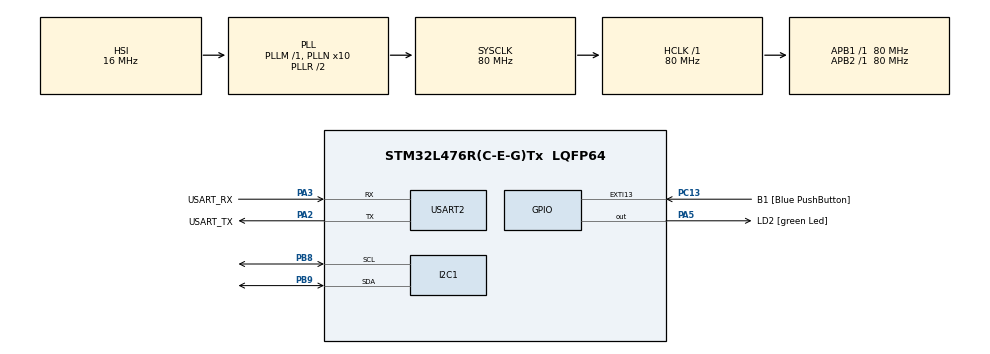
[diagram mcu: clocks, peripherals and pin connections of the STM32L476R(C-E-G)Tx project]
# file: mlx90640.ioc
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I2C1.Timing=0x10D19CE4
Mcu.Family=STM32L4
Mcu.Name=STM32L476R(C-E-G)Tx
Mcu.Package=LQFP64
NVIC.PriorityGroup=NVIC_PRIORITYGROUP_4
PA0.Mode=SYS_WakeUp0
PA0.Signal=SYS_WKUP1
PA13\ (JTMS-SWDIO).GPIO_Label=TMS
PA13\ (JTMS-SWDIO).Mode=Serial_Wire
PA13\ (JTMS-SWDIO).Signal=SYS_JTMS-SWDIO
PA14\ (JTCK-SWCLK).GPIO_Label=TCK
PA14\ (JTCK-SWCLK).Mode=Serial_Wire
PA14\ (JTCK-SWCLK).Signal=SYS_JTCK-SWCLK
PA2.GPIO_Label=USART_TX
PA2.GPIO_Mode=GPIO_MODE_AF_PP
PA2.GPIO_PuPd=GPIO_NOPULL
PA2.GPIO_Speed=GPIO_SPEED_FREQ_VERY_HIGH
PA2.Mode=Asynchronous
PA2.Signal=USART2_TX
PA3.GPIO_Label=USART_RX
PA3.GPIO_Mode=GPIO_MODE_AF_PP
PA3.GPIO_PuPd=GPIO_NOPULL
PA3.GPIO_Speed=GPIO_SPEED_FREQ_VERY_HIGH
PA3.Mode=Asynchronous
PA3.Signal=USART2_RX
PA5.GPIO_Label=LD2 [green Led]
PA5.GPIO_ModeDefaultOutputPP=GPIO_MODE_OUTPUT_PP
PA5.GPIO_PuPd=GPIO_NOPULL
PA5.GPIO_Speed=GPIO_SPEED_FREQ_LOW
PA5.Signal=GPIO_Output
PB3\ (JTDO-TRACESWO).GPIO_Label=SWO
PB3\ (JTDO-TRACESWO).Signal=SYS_JTDO-SWO
PB8.Mode=I2C
PB8.Signal=I2C1_SCL
PB9.Mode=I2C
PB9.Signal=I2C1_SDA
PC13.GPIO_Label=B1 [Blue PushButton]
PC13.GPIO_ModeDefaultEXTI=GPIO_MODE_IT_FALLING
PC13.GPIO_PuPd=GPIO_NOPULL
PC13.Signal=GPXTI13
PC14-OSC32_IN\ (PC14).Mode=LSE-External-Oscillator
PC14-OSC32_IN\ (PC14).Signal=RCC_OSC32_IN
PC15-OSC32_OUT\ (PC15).Mode=LSE-External-Oscillator
PC15-OSC32_OUT\ (PC15).Signal=RCC_OSC32_OUT
PH0-OSC_IN\ (PH0).Signal=RCC_OSC_IN
PH1-OSC_OUT\ (PH1).Signal=RCC_OSC_OUT
ProjectManager.HeapSize=0x200
ProjectManager.StackSize=0x400
ProjectManager.TargetToolchain=STM32CubeIDE
RCC.ADCFreq_Value=64000000
RCC.AHBFreq_Value=80000000
RCC.APB1Freq_Value=80000000
RCC.APB1TimFreq_Value=80000000
RCC.APB2Freq_Value=80000000
RCC.APB2TimFreq_Value=80000000
RCC.CortexFreq_Value=80000000
RCC.HCLKFreq_Value=80000000
RCC.HSE_VALUE=8000000
RCC.HSI_VALUE=16000000
RCC.MSI_VALUE=4000000
RCC.PLLN=10
RCC.PLLSourceVirtual=RCC_PLLSOURCE_HSI
RCC.PREFETCH_ENABLE=1
RCC.SYSCLKFreq_VALUE=80000000
RCC.SYSCLKSource=RCC_SYSCLKSOURCE_PLLCLK
RCC.USBFreq_Value=64000000
RCC.VCOOutputFreq_Value=160000000
USART2.VirtualMode-Asynchronous=VM_ASYNC
board=NUCLEO-L476RG

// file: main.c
/* USER CODE BEGIN Header */
/**
 ******************************************************************************
 * @file           : main.c
 * @brief          : Main program body
 ******************************************************************************
 * @attention
 *
 * Copyright (c) 2026 STMicroelectronics.
 * All rights reserved.
 *
 * This software is licensed under terms that can be found in the LICENSE file
 * in the root directory of this software component.
 * If no LICENSE file comes with this software, it is provided AS-IS.
 *
 ******************************************************************************
 */
/* USER CODE END Header */
#include "main.h"

/* USER CODE BEGIN Includes */
#include <stdio.h>
#include <stdlib.h>
#include <math.h>
#include "string.h"
/* USER CODE END Includes */

I2C_HandleTypeDef hi2c1;

UART_HandleTypeDef huart2;

void SystemClock_Config(void);
static void MX_GPIO_Init(void);
static void MX_USART2_UART_Init(void);
static void MX_I2C1_Init(void);

/* USER CODE BEGIN 0 */
#define SCALEALPHA 0.000001
#define OPENAIR_TA_SHIFT 8 ///< Default 8 degree offset from ambient air
#define MLX90640_I2C_ADDR 0x33 << 1
#define MLX_FRAME_WORDS 832

/* --- float32 <-> float16 helpers --- */
static uint16_t f32_to_f16(float f)
{
    uint32_t x;
    memcpy(&x, &f, sizeof(x));

    uint16_t sign = (x >> 16) & 0x8000;
    int32_t exp = ((x >> 23) & 0xFF) - 127 + 15;
    uint32_t mant = x & 0x007FFFFF;

    if (exp <= 0)
    {
        /* Flush to signed zero (subnormals not worth the cost on MCU) */
        return sign;
    }
    else if (exp >= 31)
    {
        /* Overflow -> infinity */
        return sign | 0x7C00;
    }
    return sign | ((uint16_t)exp << 10) | (uint16_t)(mant >> 13);
}

static float f16_to_f32(uint16_t h)
{
    uint32_t sign = (uint32_t)(h & 0x8000) << 16;
    uint32_t exp = (h >> 10) & 0x1F;
    uint32_t mant = h & 0x03FF;
    uint32_t x;

    if (exp == 0)
    {
        x = sign; /* zero / subnormal -> zero */
    }
    else if (exp == 31)
    {
        x = sign | 0x7F800000 | (mant << 13); /* inf / NaN */
    }
    else
    {
        x = sign | ((exp - 15 + 127) << 23) | (mant << 13);
    }

    float f;
    memcpy(&f, &x, sizeof(f));
    return f;
}

struct paramsMLX90640
{
    int16_t kVdd;
    int16_t vdd25;
    float KvPTAT;
    float KtPTAT;
    uint16_t vPTAT25;
    float alphaPTAT;
    int16_t gainEE;
    float tgc;
    float cpKv;
    float cpKta;
    uint8_t resolutionEE;
    uint8_t calibrationModeEE;
    float KsTa;
    float ksTo[5];
    int16_t ct[5];
    uint16_t alpha[768];
    uint8_t alphaScale;
    int16_t offset[768];
    int8_t kta[768];
    uint8_t ktaScale;
    int8_t kv[768];
    uint8_t kvScale;
    float cpAlpha[2];
    int16_t cpOffset[2];
    float ilChessC[3];
    uint16_t brokenPixels[5];
    uint16_t outlierPixels[5];
};

struct paramsMLX90640 mlx90640 = {0};

float scratchData[768];           // for calibration parameter calculations
uint16_t frameData[834] = {0};    // for reading frame data from sensor
uint16_t eepromData[832];         // for storing eeprom data
float tempBuf[24 * 32] = {0};     // for temp calculation
uint16_t frameBuf[24 * 32] = {0}; // for final float temperature values for each frame

// various messages for sending over UART
uint8_t Buffer[25] = {0};
uint8_t Space[] = " - ";
uint8_t StartMSG[] = "Starting I2C Scanning: \r\n";
uint8_t EndMSG[] = "Done! \r\n\r\n";
uint8_t StartFrameMsg[] = "\nStarting to read frame: \n";
uint8_t EndFrameMsg[] = "\nFinished frame read!\n";
uint8_t IsFrameReadyMsg[] = "\nFrame data ready\n";
uint8_t ModeSetMsg[] = "\nSet chess mode\n";
uint8_t ResolutionSetMsg[] = "\nSet resolution\n";
uint8_t FrameRateSetMsg[] = "\nSet frame rate\n";
uint8_t ErrorMsgRead[] = "\nError in read\n";
uint8_t ErrorMsgWrite[] = "\nError in write\n";
uint8_t ChessMsg[] = "\nCHESS\n";
uint8_t CrashMsg[] = "\n\nCRASH\n\n";

HAL_StatusTypeDef MLX_ReadReg(I2C_HandleTypeDef *hi2c,
                              uint16_t reg,
                              uint16_t *value)
{
    uint8_t buffer[2];

    HAL_StatusTypeDef status =
        HAL_I2C_Mem_Read(hi2c,
                         MLX90640_I2C_ADDR,
                         reg,
                         I2C_MEMADD_SIZE_16BIT,
                         buffer,
                         2,
                         1000);

    if (status != HAL_OK)
        return status;

    *value = (buffer[0] << 8) | buffer[1]; // MLX = MSB first
    return HAL_OK;
}

HAL_StatusTypeDef MLX_WriteReg(I2C_HandleTypeDef *hi2c,
                               uint16_t reg,
                               uint16_t value)
{
    uint8_t buffer[2];

    buffer[0] = value >> 8;   // MSB
    buffer[1] = value & 0xFF; // LSB

    return HAL_I2C_Mem_Write(hi2c,
                             MLX90640_I2C_ADDR,
                             reg,
                             I2C_MEMADD_SIZE_16BIT,
                             buffer,
                             2,
                             1000);
}

HAL_StatusTypeDef MLX_ReadBlock(I2C_HandleTypeDef *hi2c,
                                uint16_t startReg,
                                uint16_t words,
                                uint16_t *dest)
{
    uint8_t raw[64]; // small buffer
    uint16_t remaining = words;
    uint16_t offset = 0;

    while (remaining)
    {
        uint16_t chunkWords = (remaining > 32) ? 32 : remaining;
        uint16_t chunkBytes = chunkWords * 2;

        HAL_StatusTypeDef status =
            HAL_I2C_Mem_Read(hi2c,
                             MLX90640_I2C_ADDR,
                             startReg + offset,
                             I2C_MEMADD_SIZE_16BIT,
                             raw,
                             chunkBytes,
                             2000);

        if (status != HAL_OK)
            return status;

        for (uint16_t i = 0; i < chunkWords; i++)
        {
            dest[offset + i] =
                (raw[2 * i] << 8) | raw[2 * i + 1];
        }

        offset += chunkWords;
        remaining -= chunkWords;
    }

    return HAL_OK;
}

void ExtractVDDParameters(uint16_t *eeData)
{
    int16_t kVdd;
    int16_t vdd25;

    kVdd = eeData[51];

    kVdd = (eeData[51] & 0xFF00) >> 8;
    if (kVdd > 127)
    {
        kVdd = kVdd - 256;
    }
    kVdd = 32 * kVdd;
    vdd25 = eeData[51] & 0x00FF;
    vdd25 = ((vdd25 - 256) << 5) - 8192;

    mlx90640.kVdd = kVdd;
    mlx90640.vdd25 = vdd25;
}

void ExtractPTATParameters(uint16_t *eeData)
{
    float KvPTAT;
    float KtPTAT;
    int16_t vPTAT25;
    float alphaPTAT;

    KvPTAT = (eeData[50] & 0xFC00) >> 10;
    if (KvPTAT > 31)
    {
        KvPTAT = KvPTAT - 64;
    }
    KvPTAT = KvPTAT / 4096;

    KtPTAT = eeData[50] & 0x03FF;
    if (KtPTAT > 511)
    {
        KtPTAT = KtPTAT - 1024;
    }
    KtPTAT = KtPTAT / 8;

    vPTAT25 = eeData[49];

    alphaPTAT = (eeData[16] & 0xF000) / pow(2, (double)14) + 8.0f;

    mlx90640.KvPTAT = KvPTAT;
    mlx90640.KtPTAT = KtPTAT;
    mlx90640.vPTAT25 = vPTAT25;
    mlx90640.alphaPTAT = alphaPTAT;
}

void ExtractGainParameters(uint16_t *eeData)
{
    int16_t gainEE;

    gainEE = eeData[48];
    if (gainEE > 32767)
    {
        gainEE = gainEE - 65536;
    }

    mlx90640.gainEE = gainEE;
}

void ExtractTgcParameters(uint16_t *eeData)
{
    float tgc;
    tgc = eeData[60] & 0x00FF;
    if (tgc > 127)
    {
        tgc = tgc - 256;
    }
    tgc = tgc / 32.0f;

    mlx90640.tgc = tgc;
}

void ExtractResolutionParameters(uint16_t *eeData)
{
    uint8_t resolutionEE;
    resolutionEE = (eeData[56] & 0x3000) >> 12;

    mlx90640.resolutionEE = resolutionEE;
}

void ExtractKsTaParameters(uint16_t *eeData)
{
    float KsTa;
    KsTa = (eeData[60] & 0xFF00) >> 8;
    if (KsTa > 127)
    {
        KsTa = KsTa - 256;
    }
    KsTa = KsTa / 8192.0f;

    mlx90640.KsTa = KsTa;
}

void ExtractKsToParameters(uint16_t *eeData)
{
    int KsToScale;
    int8_t step;

    step = ((eeData[63] & 0x3000) >> 12) * 10;

    mlx90640.ct[0] = -40;
    mlx90640.ct[1] = 0;
    mlx90640.ct[2] = (eeData[63] & 0x00F0) >> 4;
    mlx90640.ct[3] = (eeData[63] & 0x0F00) >> 8;

    mlx90640.ct[2] = mlx90640.ct[2] * step;
    mlx90640.ct[3] = mlx90640.ct[2] + mlx90640.ct[3] * step;
    mlx90640.ct[4] = 400;

    KsToScale = (eeData[63] & 0x000F) + 8;
    KsToScale = 1 << KsToScale;

    mlx90640.ksTo[0] = eeData[61] & 0x00FF;
    mlx90640.ksTo[1] = (eeData[61] & 0xFF00) >> 8;
    mlx90640.ksTo[2] = eeData[62] & 0x00FF;
    mlx90640.ksTo[3] = (eeData[62] & 0xFF00) >> 8;

    for (int i = 0; i < 4; i++)
    {
        if (mlx90640.ksTo[i] > 127)
        {
            mlx90640.ksTo[i] = mlx90640.ksTo[i] - 256;
        }
        mlx90640.ksTo[i] = mlx90640.ksTo[i] / KsToScale;
    }

    mlx90640.ksTo[4] = -0.0002;
}

void ExtractCPParameters(uint16_t *eeData)
{
    float alphaSP[2];
    int16_t offsetSP[2];
    float cpKv;
    float cpKta;
    uint8_t alphaScale;
    uint8_t ktaScale1;
    uint8_t kvScale;

    alphaScale = ((eeData[32] & 0xF000) >> 12) + 27;

    offsetSP[0] = (eeData[58] & 0x03FF);
    if (offsetSP[0] > 511)
    {
        offsetSP[0] = offsetSP[0] - 1024;
    }

    offsetSP[1] = (eeData[58] & 0xFC00) >> 10;
    if (offsetSP[1] > 31)
    {
        offsetSP[1] = offsetSP[1] - 64;
    }
    offsetSP[1] = offsetSP[1] + offsetSP[0];

    alphaSP[0] = (eeData[57] & 0x03FF);
    if (alphaSP[0] > 511)
    {
        alphaSP[0] = alphaSP[0] - 1024;
    }
    alphaSP[0] = alphaSP[0] / pow(2, (double)alphaScale);

    alphaSP[1] = (eeData[57] & 0xFC00) >> 10;
    if (alphaSP[1] > 31)
    {
        alphaSP[1] = alphaSP[1] - 64;
    }
    alphaSP[1] = (1 + alphaSP[1] / 128) * alphaSP[0];

    cpKta = (eeData[59] & 0x00FF);
    if (cpKta > 127)
    {
        cpKta = cpKta - 256;
    }
    ktaScale1 = ((eeData[56] & 0x00F0) >> 4) + 8;
    mlx90640.cpKta = cpKta / pow(2, (double)ktaScale1);

    cpKv = (eeData[59] & 0xFF00) >> 8;
    if (cpKv > 127)
    {
        cpKv = cpKv - 256;
    }
    kvScale = (eeData[56] & 0x0F00) >> 8;
    mlx90640.cpKv = cpKv / pow(2, (double)kvScale);

    mlx90640.cpAlpha[0] = alphaSP[0];
    mlx90640.cpAlpha[1] = alphaSP[1];
    mlx90640.cpOffset[0] = offsetSP[0];
    mlx90640.cpOffset[1] = offsetSP[1];
}

void ExtractAlphaParameters(uint16_t *eeData)
{
    int16_t accRow[24];
    int16_t accColumn[32];
    int p = 0;
    int alphaRef;
    uint8_t alphaScale;
    uint8_t accRowScale;
    uint8_t accColumnScale;
    uint8_t accRemScale;
    float temp;

    accRemScale = eeData[32] & 0x000F;
    accColumnScale = (eeData[32] & 0x00F0) >> 4;
    accRowScale = (eeData[32] & 0x0F00) >> 8;
    alphaScale = ((eeData[32] & 0xF000) >> 12) + 30;
    alphaRef = eeData[33];

    for (int i = 0; i < 6; i++)
    {
        p = i * 4;
        accRow[p + 0] = (eeData[34 + i] & 0x000F);
        accRow[p + 1] = (eeData[34 + i] & 0x00F0) >> 4;
        accRow[p + 2] = (eeData[34 + i] & 0x0F00) >> 8;
        accRow[p + 3] = (eeData[34 + i] & 0xF000) >> 12;
    }

    for (int i = 0; i < 24; i++)
    {
        if (accRow[i] > 7)
        {
            accRow[i] = accRow[i] - 16;
        }
    }

    for (int i = 0; i < 8; i++)
    {
        p = i * 4;
        accColumn[p + 0] = (eeData[40 + i] & 0x000F);
        accColumn[p + 1] = (eeData[40 + i] & 0x00F0) >> 4;
        accColumn[p + 2] = (eeData[40 + i] & 0x0F00) >> 8;
        accColumn[p + 3] = (eeData[40 + i] & 0xF000) >> 12;
    }

    for (int i = 0; i < 32; i++)
    {
        if (accColumn[i] > 7)
        {
            accColumn[i] = accColumn[i] - 16;
        }
    }

    for (int i = 0; i < 24; i++)
    {
        for (int j = 0; j < 32; j++)
        {
            p = 32 * i + j;
            scratchData[p] = (eeData[64 + p] & 0x03F0) >> 4;
            if (scratchData[p] > 31)
            {
                scratchData[p] = scratchData[p] - 64;
            }
            scratchData[p] = scratchData[p] * (1 << accRemScale);
            scratchData[p] = (alphaRef + (accRow[i] << accRowScale) + (accColumn[j] << accColumnScale) + scratchData[p]);
            scratchData[p] = scratchData[p] / pow(2, (double)alphaScale);
            scratchData[p] = scratchData[p] - mlx90640.tgc * (mlx90640.cpAlpha[0] + mlx90640.cpAlpha[1]) / 2;
            scratchData[p] = SCALEALPHA / scratchData[p];

            if (i == 0 && j == 0)
                temp = scratchData[p];
            else
            {
                if (scratchData[p] > temp)
                    temp = scratchData[p];
            }
        }
    }

    temp = scratchData[0];
    for (int i = 1; i < 768; i++)
    {
        if (scratchData[i] > temp)
        {
            temp = scratchData[i];
        }
    }

    alphaScale = 0;
    if (temp <= 0)
        temp = 1; // prevent lock
    while (temp < 32768)
    {
        temp = temp * 2;
        alphaScale = alphaScale + 1;
    }

    for (int i = 0; i < 768; i++)
    {
        temp = scratchData[i] * pow(2, (double)alphaScale);
        mlx90640.alpha[i] = (temp + 0.5);
    }

    mlx90640.alphaScale = alphaScale;
}

void ExtractOffsetParameters(uint16_t *eeData)
{
    int16_t occRow[24];
    int16_t occColumn[32];
    int p = 0;
    int16_t offsetRef;
    uint8_t occRowScale;
    uint8_t occColumnScale;
    uint8_t occRemScale;

    occRemScale = (eeData[16] & 0x000F);
    occColumnScale = (eeData[16] & 0x00F0) >> 4;
    occRowScale = (eeData[16] & 0x0F00) >> 8;
    offsetRef = eeData[17];
    if (offsetRef > 32767)
    {
        offsetRef = offsetRef - 65536;
    }

    for (int i = 0; i < 6; i++)
    {
        p = i * 4;
        occRow[p + 0] = (eeData[18 + i] & 0x000F);
        occRow[p + 1] = (eeData[18 + i] & 0x00F0) >> 4;
        occRow[p + 2] = (eeData[18 + i] & 0x0F00) >> 8;
        occRow[p + 3] = (eeData[18 + i] & 0xF000) >> 12;
    }

    for (int i = 0; i < 24; i++)
    {
        if (occRow[i] > 7)
        {
            occRow[i] = occRow[i] - 16;
        }
    }

    for (int i = 0; i < 8; i++)
    {
        p = i * 4;
        occColumn[p + 0] = (eeData[24 + i] & 0x000F);
        occColumn[p + 1] = (eeData[24 + i] & 0x00F0) >> 4;
        occColumn[p + 2] = (eeData[24 + i] & 0x0F00) >> 8;
        occColumn[p + 3] = (eeData[24 + i] & 0xF000) >> 12;
    }

    for (int i = 0; i < 32; i++)
    {
        if (occColumn[i] > 7)
        {
            occColumn[i] = occColumn[i] - 16;
        }
    }

    for (int i = 0; i < 24; i++)
    {
        for (int j = 0; j < 32; j++)
        {
            p = 32 * i + j;
            mlx90640.offset[p] = (eeData[64 + p] & 0xFC00) >> 10;
            if (mlx90640.offset[p] > 31)
            {
                mlx90640.offset[p] = mlx90640.offset[p] - 64;
            }
            mlx90640.offset[p] = mlx90640.offset[p] * (1 << occRemScale);
            mlx90640.offset[p] = (offsetRef + (occRow[i] << occRowScale) + (occColumn[j] << occColumnScale) + mlx90640.offset[p]);
        }
    }
}

void ExtractKtaPixelParameters(uint16_t *eeData)
{
    int p = 0;
    int8_t KtaRC[4];
    int8_t KtaRoCo;
    int8_t KtaRoCe;
    int8_t KtaReCo;
    int8_t KtaReCe;
    uint8_t ktaScale1;
    uint8_t ktaScale2;
    uint8_t split;
    float temp;

    KtaRoCo = (eeData[54] & 0xFF00) >> 8;
    if (KtaRoCo > 127)
    {
        KtaRoCo = KtaRoCo - 256;
    }
    KtaRC[0] = KtaRoCo;

    KtaReCo = (eeData[54] & 0x00FF);
    if (KtaReCo > 127)
    {
        KtaReCo = KtaReCo - 256;
    }
    KtaRC[2] = KtaReCo;

    KtaRoCe = (eeData[55] & 0xFF00) >> 8;
    if (KtaRoCe > 127)
    {
        KtaRoCe = KtaRoCe - 256;
    }
    KtaRC[1] = KtaRoCe;

    KtaReCe = (eeData[55] & 0x00FF);
    if (KtaReCe > 127)
    {
        KtaReCe = KtaReCe - 256;
    }
    KtaRC[3] = KtaReCe;

    ktaScale1 = ((eeData[56] & 0x00F0) >> 4) + 8;
    ktaScale2 = (eeData[56] & 0x000F);

    for (int i = 0; i < 24; i++)
    {
        for (int j = 0; j < 32; j++)
        {
            p = 32 * i + j;
            split = 2 * (p / 32 - (p / 64) * 2) + p % 2;
            scratchData[p] = (eeData[64 + p] & 0x000E) >> 1;
            if (scratchData[p] > 3)
            {
                scratchData[p] = scratchData[p] - 8;
            }
            scratchData[p] = scratchData[p] * (1 << ktaScale2);
            scratchData[p] = KtaRC[split] + scratchData[p];
            scratchData[p] = scratchData[p] / pow(2, (double)ktaScale1);
            scratchData[p] = scratchData[p] * mlx90640.offset[p];

            if (i == 0 && j == 0)
                temp = fabs(scratchData[p]);
            else
            {
                if (fabs(scratchData[p]) > temp)
                    temp = fabs(scratchData[p]);
            }
        }
    }

    temp = fabs(scratchData[0]);
    for (int i = 1; i < 768; i++)
    {
        if (fabs(scratchData[i]) > temp)
        {
            temp = fabs(scratchData[i]);
        }
    }

    ktaScale1 = 0;
    if (temp == 0)
        temp = 1;
    while (temp < 64)
    {
        temp = temp * 2;
        ktaScale1 = ktaScale1 + 1;
    }

    for (int i = 0; i < 768; i++)
    {
        temp = scratchData[i] * pow(2, (double)ktaScale1);
        if (temp < 0)
        {
            mlx90640.kta[i] = (temp - 0.5);
        }
        else
        {
            mlx90640.kta[i] = (temp + 0.5);
        }
    }

    mlx90640.ktaScale = ktaScale1;
}

void ExtractKvPixelParameters(uint16_t *eeData)
{
    int p = 0;
    int8_t KvT[4];
    int8_t KvRoCo;
    int8_t KvRoCe;
    int8_t KvReCo;
    int8_t KvReCe;
    uint8_t kvScale;
    uint8_t split;
    float temp;

    KvRoCo = (eeData[52] & 0xF000) >> 12;
    if (KvRoCo > 7)
    {
        KvRoCo = KvRoCo - 16;
    }
    KvT[0] = KvRoCo;

    KvReCo = (eeData[52] & 0x0F00) >> 8;
    if (KvReCo > 7)
    {
        KvReCo = KvReCo - 16;
    }
    KvT[2] = KvReCo;

    KvRoCe = (eeData[52] & 0x00F0) >> 4;
    if (KvRoCe > 7)
    {
        KvRoCe = KvRoCe - 16;
    }
    KvT[1] = KvRoCe;

    KvReCe = (eeData[52] & 0x000F);
    if (KvReCe > 7)
    {
        KvReCe = KvReCe - 16;
    }
    KvT[3] = KvReCe;

    kvScale = (eeData[56] & 0x0F00) >> 8;

    for (int i = 0; i < 24; i++)
    {
        for (int j = 0; j < 32; j++)
        {
            p = 32 * i + j;
            split = 2 * (p / 32 - (p / 64) * 2) + p % 2;
            scratchData[p] = KvT[split];
            scratchData[p] = scratchData[p] / pow(2, (double)kvScale);
            scratchData[p] = scratchData[p] * mlx90640.offset[p];

            if (i == 0 && j == 0)
                temp = fabs(scratchData[p]);
            else
            {
                if (fabs(scratchData[p]) > temp)
                    temp = fabs(scratchData[p]);
            }
        }
    }

    temp = fabs(scratchData[0]);
    for (int i = 1; i < 768; i++)
    {
        if (fabs(scratchData[i]) > temp)
        {
            temp = fabs(scratchData[i]);
        }
    }

    kvScale = 0;

    if (temp == 0)
        temp = 1;
    while (temp < 64)
    {
        temp = temp * 2;
        kvScale = kvScale + 1;
    }

    for (int i = 0; i < 768; i++)
    {
        temp = scratchData[i] * pow(2, (double)kvScale);
        if (temp < 0)
        {
            mlx90640.kv[i] = (temp - 0.5);
        }
        else
        {
            mlx90640.kv[i] = (temp + 0.5);
        }
    }

    mlx90640.kvScale = kvScale;
}

void ExtractCILCParameters(uint16_t *eeData)
{
    float ilChessC[3];
    uint8_t calibrationModeEE;

    calibrationModeEE = (eeData[10] & 0x0800) >> 4;
    calibrationModeEE = calibrationModeEE ^ 0x80;

    ilChessC[0] = (eeData[53] & 0x003F);
    if (ilChessC[0] > 31)
    {
        ilChessC[0] = ilChessC[0] - 64;
    }
    ilChessC[0] = ilChessC[0] / 16.0f;

    ilChessC[1] = (eeData[53] & 0x07C0) >> 6;
    if (ilChessC[1] > 15)
    {
        ilChessC[1] = ilChessC[1] - 32;
    }
    ilChessC[1] = ilChessC[1] / 2.0f;

    ilChessC[2] = (eeData[53] & 0xF800) >> 11;
    if (ilChessC[2] > 15)
    {
        ilChessC[2] = ilChessC[2] - 32;
    }
    ilChessC[2] = ilChessC[2] / 8.0f;

    mlx90640.calibrationModeEE = calibrationModeEE;
    mlx90640.ilChessC[0] = ilChessC[0];
    mlx90640.ilChessC[1] = ilChessC[1];
    mlx90640.ilChessC[2] = ilChessC[2];
}

int CheckAdjacentPixels(uint16_t pix1, uint16_t pix2)
{
    int pixPosDif;

    pixPosDif = pix1 - pix2;
    if (pixPosDif > -34 && pixPosDif < -30)
    {
        return -6;
    }
    if (pixPosDif > -2 && pixPosDif < 2)
    {
        return -6;
    }
    if (pixPosDif > 30 && pixPosDif < 34)
    {
        return -6;
    }

    return 0;
}

int ExtractDeviatingPixels(uint16_t *eeData)
{
    uint16_t pixCnt = 0;
    uint16_t brokenPixCnt = 0;
    uint16_t outlierPixCnt = 0;
    int warn = 0;
    int i;

    for (pixCnt = 0; pixCnt < 5; pixCnt++)
    {
        mlx90640.brokenPixels[pixCnt] = 0xFFFF;
        mlx90640.outlierPixels[pixCnt] = 0xFFFF;
    }

    pixCnt = 0;
    while (pixCnt < 768 && brokenPixCnt < 5 && outlierPixCnt < 5)
    {
        if (eeData[pixCnt + 64] == 0)
        {
            mlx90640.brokenPixels[brokenPixCnt] = pixCnt;
            brokenPixCnt = brokenPixCnt + 1;
        }
        else if ((eeData[pixCnt + 64] & 0x0001) != 0)
        {
            mlx90640.outlierPixels[outlierPixCnt] = pixCnt;
            outlierPixCnt = outlierPixCnt + 1;
        }

        pixCnt = pixCnt + 1;
    }

    if (brokenPixCnt > 4)
    {
        warn = -3;
    }
    else if (outlierPixCnt > 4)
    {
        warn = -4;
    }
    else if ((brokenPixCnt + outlierPixCnt) > 4)
    {
        warn = -5;
    }
    else
    {
        for (pixCnt = 0; pixCnt < brokenPixCnt; pixCnt++)
        {
            for (i = pixCnt + 1; i < brokenPixCnt; i++)
            {
                warn = CheckAdjacentPixels(mlx90640.brokenPixels[pixCnt], mlx90640.brokenPixels[i]);
                if (warn != 0)
                {
                    return warn;
                }
            }
        }

        for (pixCnt = 0; pixCnt < outlierPixCnt; pixCnt++)
        {
            for (i = pixCnt + 1; i < outlierPixCnt; i++)
            {
                warn = CheckAdjacentPixels(mlx90640.outlierPixels[pixCnt], mlx90640.outlierPixels[i]);
                if (warn != 0)
                {
                    return warn;
                }
            }
        }

        for (pixCnt = 0; pixCnt < brokenPixCnt; pixCnt++)
        {
            for (i = 0; i < outlierPixCnt; i++)
            {
                warn = CheckAdjacentPixels(mlx90640.brokenPixels[pixCnt], mlx90640.outlierPixels[i]);
                if (warn != 0)
                {
                    return warn;
                }
            }
        }
    }

    return warn;
}

int MLX90640_ExtractParameters(uint16_t *eeData)
{
    int error = 0;
    ExtractVDDParameters(eeData);
    ExtractPTATParameters(eeData);
    ExtractGainParameters(eeData);
    ExtractTgcParameters(eeData);
    ExtractResolutionParameters(eeData);
    ExtractKsTaParameters(eeData);
    ExtractKsToParameters(eeData);
    ExtractCPParameters(eeData);
    ExtractAlphaParameters(eeData);
    ExtractOffsetParameters(eeData);
    ExtractKtaPixelParameters(eeData);
    ExtractKvPixelParameters(eeData);
    ExtractCILCParameters(eeData);
    error = ExtractDeviatingPixels(eeData);

    return error;
}

int MLX90640_GetFrameData()
{
    uint16_t dataReady = 1;
    uint16_t controlRegister1;
    uint16_t statusRegister;
    int error = 1;
    uint8_t cnt = 0;

    dataReady = 0;
    while (dataReady == 0)
    {
        if (MLX_ReadReg(&hi2c1, 0x8000, &statusRegister) != HAL_OK)
        {
            HAL_UART_Transmit(&huart2, ErrorMsgRead, sizeof(ErrorMsgRead), 10000);
            break;
        }
        dataReady = statusRegister & 0x0008;
        HAL_Delay(5);
    }

    while (dataReady != 0 && cnt < 5)
    {

        if (MLX_WriteReg(&hi2c1, 0x8000, 0x0030) != HAL_OK)
        {

            HAL_UART_Transmit(&huart2, ErrorMsgWrite, sizeof(ErrorMsgWrite), 10000);
            break;
        }

        if (MLX_ReadBlock(&hi2c1, 0x0400, 832, frameData) != HAL_OK)
        {
            HAL_UART_Transmit(&huart2, ErrorMsgRead, sizeof(ErrorMsgRead), 10000);
            break;
        }

        if (MLX_ReadReg(&hi2c1, 0x8000, &statusRegister) != HAL_OK)
        {
            HAL_UART_Transmit(&huart2, ErrorMsgRead, sizeof(ErrorMsgRead), 10000);
            break;
        }
        dataReady = statusRegister & 0x0008;
        cnt = cnt + 1;
    }

    if (cnt > 4)
    {
        return -8;
    }

    if (MLX_ReadReg(&hi2c1, 0x800D, &controlRegister1) != HAL_OK)
    {
        HAL_UART_Transmit(&huart2, ErrorMsgRead, sizeof(ErrorMsgRead), 10000);
    }
    frameData[832] = controlRegister1;
    frameData[833] = statusRegister & 0x0001;

    return frameData[833];
}

float MLX90640_GetVdd()
{
    float vdd;
    float resolutionCorrection;

    int resolutionRAM;

    vdd = frameData[810];
    if (vdd > 32767)
    {
        vdd = vdd - 65536;
    }
    resolutionRAM = (frameData[832] & 0x0C00) >> 10;
    resolutionCorrection = pow(2, (double)mlx90640.resolutionEE) / pow(2, (double)resolutionRAM);
    vdd = (resolutionCorrection * vdd - mlx90640.vdd25) / mlx90640.kVdd + 3.3;

    return vdd;
}

float MLX90640_GetTa()
{
    float ptat;
    float ptatArt;
    float vdd;
    float ta;

    vdd = MLX90640_GetVdd(frameData);

    ptat = frameData[800];
    if (ptat > 32767)
    {
        ptat = ptat - 65536;
    }

    ptatArt = frameData[768];
    if (ptatArt > 32767)
    {
        ptatArt = ptatArt - 65536;
    }
    ptatArt = (ptat / (ptat * mlx90640.alphaPTAT + ptatArt)) * pow(2, (double)18);

    ta = (ptatArt / (1 + mlx90640.KvPTAT * (vdd - 3.3)) - mlx90640.vPTAT25);
    ta = ta / mlx90640.KtPTAT + 25;

    return ta;
}

void MLX90640_CalculateTo(float emissivity, float tr, float *result)
{
    float vdd;
    float ta;
    float ta4;
    float tr4;
    float taTr;
    float gain;
    float irDataCP[2];
    float irData;
    float alphaCompensated;
    uint8_t mode;
    int8_t ilPattern;
    int8_t chessPattern;
    int8_t pattern;
    int8_t conversionPattern;
    float Sx;
    float To;
    float alphaCorrR[4];
    int8_t range;
    uint16_t subPage;
    float ktaScale;
    float kvScale;
    float alphaScale;
    float kta;
    float kv;

    subPage = frameData[833];
    vdd = MLX90640_GetVdd();
    ta = MLX90640_GetTa();

    ta4 = (ta + 273.15);
    ta4 = ta4 * ta4;
    ta4 = ta4 * ta4;
    tr4 = (tr + 273.15);
    tr4 = tr4 * tr4;
    tr4 = tr4 * tr4;
    taTr = tr4 - (tr4 - ta4) / emissivity;

    ktaScale = pow(2, (double)mlx90640.ktaScale);
    kvScale = pow(2, (double)mlx90640.kvScale);
    alphaScale = pow(2, (double)mlx90640.alphaScale);

    alphaCorrR[0] = 1 / (1 + mlx90640.ksTo[0] * 40);
    alphaCorrR[1] = 1;
    alphaCorrR[2] = (1 + mlx90640.ksTo[1] * mlx90640.ct[2]);
    alphaCorrR[3] = alphaCorrR[2] * (1 + mlx90640.ksTo[2] * (mlx90640.ct[3] - mlx90640.ct[2]));

    //------------------------- Gain calculation -----------------------------------
    gain = frameData[778];
    if (gain > 32767)
    {
        gain = gain - 65536;
    }

    gain = mlx90640.gainEE / gain;

    //------------------------- To calculation -------------------------------------
    mode = (frameData[832] & 0x1000) >> 5;

    irDataCP[0] = frameData[776];
    irDataCP[1] = frameData[808];
    for (int i = 0; i < 2; i++)
    {
        if (irDataCP[i] > 32767)
        {
            irDataCP[i] = irDataCP[i] - 65536;
        }
        irDataCP[i] = irDataCP[i] * gain;
    }
    irDataCP[0] = irDataCP[0] - mlx90640.cpOffset[0] * (1 + mlx90640.cpKta * (ta - 25)) * (1 + mlx90640.cpKv * (vdd - 3.3));
    if (mode == mlx90640.calibrationModeEE)
    {
        irDataCP[1] = irDataCP[1] - mlx90640.cpOffset[1] * (1 + mlx90640.cpKta * (ta - 25)) * (1 + mlx90640.cpKv * (vdd - 3.3));
    }
    else
    {
        irDataCP[1] = irDataCP[1] - (mlx90640.cpOffset[1] + mlx90640.ilChessC[0]) * (1 + mlx90640.cpKta * (ta - 25)) * (1 + mlx90640.cpKv * (vdd - 3.3));
    }

    for (int pixelNumber = 0; pixelNumber < 768; pixelNumber++)
    {
        ilPattern = pixelNumber / 32 - (pixelNumber / 64) * 2;
        chessPattern = ilPattern ^ (pixelNumber - (pixelNumber / 2) * 2);
        conversionPattern = ((pixelNumber + 2) / 4 - (pixelNumber + 3) / 4 + (pixelNumber + 1) / 4 - pixelNumber / 4) * (1 - 2 * ilPattern);

        if (mode == 0)
        {
            pattern = ilPattern;
        }
        else
        {
            pattern = chessPattern;
        }

        if (pattern == frameData[833])
        {
            irData = frameData[pixelNumber];
            if (irData > 32767)
            {
                irData = irData - 65536;
            }
            irData = irData * gain;

            kta = mlx90640.kta[pixelNumber] / ktaScale;
            kv = mlx90640.kv[pixelNumber] / kvScale;
            irData = irData - mlx90640.offset[pixelNumber] * (1 + kta * (ta - 25)) * (1 + kv * (vdd - 3.3));

            if (mode != mlx90640.calibrationModeEE)
            {
                irData = irData + mlx90640.ilChessC[2] * (2 * ilPattern - 1) - mlx90640.ilChessC[1] * conversionPattern;
            }

            irData = irData - mlx90640.tgc * irDataCP[subPage];
            irData = irData / emissivity;

            alphaCompensated = SCALEALPHA * alphaScale / mlx90640.alpha[pixelNumber];
            alphaCompensated = alphaCompensated * (1 + mlx90640.KsTa * (ta - 25));

            Sx = alphaCompensated * alphaCompensated * alphaCompensated * (irData + alphaCompensated * taTr);
            Sx = sqrt(sqrt(Sx)) * mlx90640.ksTo[1];

            To = sqrt(sqrt(irData / (alphaCompensated * (1 - mlx90640.ksTo[1] * 273.15) + Sx) + taTr)) - 273.15;

            if (To < mlx90640.ct[1])
            {
                range = 0;
            }
            else if (To < mlx90640.ct[2])
            {
                range = 1;
            }
            else if (To < mlx90640.ct[3])
            {
                range = 2;
            }
            else
            {
                range = 3;
            }

            To = sqrt(sqrt(irData / (alphaCompensated * alphaCorrR[range] * (1 + mlx90640.ksTo[range] * (To - mlx90640.ct[range]))) + taTr)) - 273.15;

            result[pixelNumber] = To;
        }
    }
}

/*!
 *    @brief  Read 2 pages, calculate temperatures and place into framebuf
 *    @param  framebuf 24*32 floating point memory buffer
 *    @return 0 on success
 */
int MLX90640_getFrame()
{
    float emissivity = 0.95;
    float tr = 23.15;
    float ta = 0.0;
    int status;

    for (uint8_t page = 0; page < 2; page++)
    {
        status = MLX90640_GetFrameData();
        if (status < 0)
            return status;

        ta = MLX90640_GetTa();
        tr = ta - OPENAIR_TA_SHIFT;
        MLX90640_CalculateTo(emissivity, tr, tempBuf);
    }

    /* Convert float32 -> float16 and store */
    for (int i = 0; i < 24 * 32; i++)
    {
        frameBuf[i] = f32_to_f16(tempBuf[i]);
    }
    return 0;
}

int MLX90640_getRawFrame()
{
    int status;

    for (uint8_t page = 0; page < 2; page++)
    {
        status = MLX90640_GetFrameData();

        if (status < 0)
        {
            return status;
        }
    }

    return 0;
}

void MLX90640_diagnostic_test(void)
{
    char buf[100];
    uint16_t testValue;
    HAL_StatusTypeDef status;

    HAL_Delay(100);
    HAL_UART_Transmit(&huart2, StartMSG, sizeof(StartMSG), 10000);
    uint8_t i = 0, ret;
    for (i = 1; i < 128; i++)
    {
        ret = HAL_I2C_IsDeviceReady(&hi2c1, (uint16_t)(i << 1), 3, 5);
        if (ret != HAL_OK) /* No ACK Received At That Address */
        {
            HAL_UART_Transmit(&huart2, Space, sizeof(Space), 10000);
        }
        else if (ret == HAL_OK)
        {
            sprintf(Buffer, "0x%X", i);
            HAL_UART_Transmit(&huart2, Buffer, sizeof(Buffer), 10000);
        }
    }
    HAL_UART_Transmit(&huart2, EndMSG, sizeof(EndMSG), 10000);
    HAL_Delay(100);

    // try to read serial number from sensor
    uint16_t serialNo;
    MLX_ReadReg(&hi2c1, 0x2407, &serialNo);

    HAL_Delay(100);
    char serialNoBuf[6];
    itoa(serialNo, serialNoBuf, 16);
    serialNoBuf[5] = "\n";
    HAL_UART_Transmit(&huart2, serialNoBuf, sizeof(serialNoBuf), 10000);

    // Test 1: Read a known EEPROM register
    status = MLX_ReadReg(&hi2c1, 0x2400, &testValue);
    sprintf(buf, "EEPROM[0x2400]: 0x%04X, Status: %d\n", testValue, status);
    HAL_UART_Transmit(&huart2, (uint8_t *)buf, strlen(buf), 10000);

    // Test 2: Read status register
    status = MLX_ReadReg(&hi2c1, 0x8000, &testValue);
    sprintf(buf, "Status[0x8000]: 0x%04X, Status: %d\n", testValue, status);
    HAL_UART_Transmit(&huart2, (uint8_t *)buf, strlen(buf), 10000);

    // Test 3: Read first frame pixel
    status = MLX_ReadReg(&hi2c1, 0x0400, &testValue);
    sprintf(buf, "Frame[0x0400]: 0x%04X, Status: %d\n", testValue, status);
    HAL_UART_Transmit(&huart2, (uint8_t *)buf, strlen(buf), 10000);

    // Test 4: Try reading 10 words with block read
    uint16_t testBlock[10];
    status = MLX_ReadBlock(&hi2c1, 0x2400, 10, testBlock);
    sprintf(buf, "Block read status: %d\n", status);
    HAL_UART_Transmit(&huart2, (uint8_t *)buf, strlen(buf), 10000);

    for (int i = 0; i < 10; i++)
    {
        sprintf(buf, "  [%d]: 0x%04X\n", i, testBlock[i]);
        HAL_UART_Transmit(&huart2, (uint8_t *)buf, strlen(buf), 10000);
    }
}

/**
 * Will print the contents of the EEPROM to UART. Use for debugging.
 */
void MLX90640_Dump_EEPROM()
{
    char regBuf[32] = {0};
    for (int i = 0; i < 832; i++)
    {
        sprintf(regBuf, "0x%04X\n", eepromData[i]);
        HAL_UART_Transmit(&huart2, regBuf, sizeof(regBuf), 10000);
    }
}

/**
 * Performs sensor initialization. Reads required information from EEPROM, and then
 * sets various settings (chess mode for readout pattern, 18-bit resolution, 4Hz refresh rate
 */
void MLX90640_InitSensor(uint8_t debug)
{
    MLX_ReadBlock(&hi2c1, 0x2400, 832, eepromData);
    // set to chess mode
    if (debug)
        HAL_UART_Transmit(&huart2, ModeSetMsg, sizeof(ModeSetMsg), 10000);
    uint16_t controlRegister1;

    HAL_StatusTypeDef status = MLX_ReadReg(&hi2c1, 0x800D, &controlRegister1);
    if (status != HAL_OK)
    {
        HAL_UART_Transmit(&huart2, ErrorMsgRead, sizeof(ErrorMsgRead), 10000);
    }

    uint16_t value = (controlRegister1 | 0x1000);
    status = MLX_WriteReg(&hi2c1, 0x800D, value);
    if (status != HAL_OK)
    {
        HAL_UART_Transmit(&huart2, ErrorMsgWrite, sizeof(ErrorMsgWrite), 10000);
    }

    // verify mode set
    status = MLX_ReadReg(&hi2c1, 0x800D, &controlRegister1);
    int modeRAM = (controlRegister1 & 0x1000) >> 12;
    if (modeRAM == 1 && debug)
    {
        HAL_UART_Transmit(&huart2, ChessMsg, sizeof(ChessMsg), 10000);
    }
    if (debug)
        HAL_UART_Transmit(&huart2, ModeSetMsg, sizeof(ModeSetMsg), 10000);

    // set resolution
    if (debug)
        HAL_UART_Transmit(&huart2, ResolutionSetMsg, sizeof(ResolutionSetMsg), 10000);
    status = MLX_ReadReg(&hi2c1, 0x800D, &controlRegister1);
    if (status != HAL_OK)
    {
        HAL_UART_Transmit(&huart2, ErrorMsgRead, sizeof(ErrorMsgRead), 10000);
    }

    uint8_t resolution = 2; // 18-bit
    value = (resolution & 0x03) << 10;
    value = (controlRegister1 & 0xF3FF) | value;
    status = MLX_WriteReg(&hi2c1, 0x800D, value);
    if (status != HAL_OK)
    {
        HAL_UART_Transmit(&huart2, ErrorMsgWrite, sizeof(ErrorMsgWrite), 10000);
    }
    if (debug)
        HAL_UART_Transmit(&huart2, ResolutionSetMsg, sizeof(ResolutionSetMsg), 10000);

    // set frame rate
    if (debug)
        HAL_UART_Transmit(&huart2, FrameRateSetMsg, sizeof(FrameRateSetMsg), 10000);
    uint8_t refreshRate = 4; // 4Hz
    value = (refreshRate & 0x07) << 7;

    status = MLX_ReadReg(&hi2c1, 0x800D, &controlRegister1);
    if (status != HAL_OK)
    {
        HAL_UART_Transmit(&huart2, ErrorMsgRead, sizeof(ErrorMsgRead), 10000);
    }
    value = (controlRegister1 & 0xFC7F) | value;
    status = MLX_WriteReg(&hi2c1, 0x800D, value);
    if (status != HAL_OK)
    {
        HAL_UART_Transmit(&huart2, ErrorMsgWrite, sizeof(ErrorMsgWrite), 10000);
    }

    status = MLX_ReadReg(&hi2c1, 0x800D, &controlRegister1);
    if (status != HAL_OK)
    {
        HAL_UART_Transmit(&huart2, ErrorMsgRead, sizeof(ErrorMsgRead), 10000);
    }
    // verify rate
    int rate = (controlRegister1 & 0x0380) >> 7;
    if (debug)
    {
        if (rate == 2)
        {
            uint8_t tempbuftwo[] = "RATE 2 Hz\n";
            HAL_UART_Transmit(&huart2, tempbuftwo, sizeof(tempbuftwo), 10000);
        }
        else if (rate == 4)
        {
            uint8_t tempbuftwo[] = "RATE 4 Hz\n";
            HAL_UART_Transmit(&huart2, tempbuftwo, sizeof(tempbuftwo), 10000);
        }
        HAL_UART_Transmit(&huart2, FrameRateSetMsg, sizeof(FrameRateSetMsg), 10000);
    }
}

/* USER CODE END 0 */

int main(void)
{

    /* MCU Configuration--------------------------------------------------------*/

    /* Reset of all peripherals, Initializes the Flash interface and the Systick. */
    HAL_Init();

    /* Configure the system clock */
    SystemClock_Config();

    /* Initialize all configured peripherals */
    MX_GPIO_Init();
    MX_USART2_UART_Init();
    MX_I2C1_Init();
    /* USER CODE BEGIN 2 */

    // scans for MLX90640 i2c address and runs some basic tests
    // MLX90640_diagnostic_test();

    MLX90640_InitSensor(0);

    // extract calibration parameters from EEPROM
    MLX90640_ExtractParameters(eepromData);

    /* USER CODE END 2 */

    /* Infinite loop */
    /* USER CODE BEGIN WHILE */
    while (1)
    {

        HAL_UART_Transmit(&huart2, StartFrameMsg, sizeof(StartFrameMsg), 10000);
        MLX90640_getFrame();
        HAL_UART_Transmit(&huart2, EndFrameMsg, sizeof(EndFrameMsg), 10000);

        uint16_t j, k;
        float temp;

        // prints out float values read for each temperature. un-comment for debugging
        /*
        char regRawBuf[34] = { 0 };
        for (j = 0; j < 24; j++) {
            for (k = 1; k < 33; k++) {
                temp = f16_to_f32(frameBuf[j * 32 + k]);
                // NOTE: had to manually add -u _printf_float to flags for compilation to do this
                // will not be worth it for actual final project
                sprintf(regRawBuf, "%lf, \0", temp);
                HAL_UART_Transmit(&huart2, regRawBuf, sizeof(regRawBuf), 100000);
            }
            char linesep[] = "\n";
            HAL_UART_Transmit(&huart2, linesep, sizeof(linesep), 100000);
        }
        */

        char rowBuf[34] = {0};
        for (j = 0; j < 24; j++)
        {
            rowBuf[0] = '\n';
            for (k = 1; k < 33; k++)
            {
                temp = f16_to_f32(frameBuf[j * 32 + k]);
                if (temp < 10)
                    rowBuf[k] = '=';
                else if (temp < 20)
                    rowBuf[k] = '0';
                else if (temp < 23)
                    rowBuf[k] = '.';
                else if (temp < 25)
                    rowBuf[k] = '-';
                else if (temp < 27)
                    rowBuf[k] = '*';
                else if (temp < 29)
                    rowBuf[k] = '+';
                else if (temp < 31)
                    rowBuf[k] = 'x';
                else if (temp < 33)
                    rowBuf[k] = '%';
                else if (temp < 35)
                    rowBuf[k] = '#';
                else if (temp < 37)
                    rowBuf[k] = 'X';
                else
                    rowBuf[k] = 'N';
            }
            rowBuf[33] = '\n';
            HAL_UART_Transmit(&huart2, rowBuf, 33, 100000);
        }

        HAL_UART_Transmit(&huart2, EndFrameMsg, sizeof(EndFrameMsg), 10000);
        HAL_Delay(10000);
        /* USER CODE END WHILE */

    }
}

void SystemClock_Config(void)
{
    RCC_OscInitTypeDef RCC_OscInitStruct = {0};
    RCC_ClkInitTypeDef RCC_ClkInitStruct = {0};

    /** Configure the main internal regulator output voltage
     */
    if (HAL_PWREx_ControlVoltageScaling(PWR_REGULATOR_VOLTAGE_SCALE1) != HAL_OK)
    {
        Error_Handler();
    }

    /** Initializes the RCC Oscillators according to the specified parameters
     * in the RCC_OscInitTypeDef structure.
     */
    RCC_OscInitStruct.OscillatorType = RCC_OSCILLATORTYPE_HSI;
    RCC_OscInitStruct.HSIState = RCC_HSI_ON;
    RCC_OscInitStruct.HSICalibrationValue = RCC_HSICALIBRATION_DEFAULT;
    RCC_OscInitStruct.PLL.PLLState = RCC_PLL_ON;
    RCC_OscInitStruct.PLL.PLLSource = RCC_PLLSOURCE_HSI;
    RCC_OscInitStruct.PLL.PLLM = 1;
    RCC_OscInitStruct.PLL.PLLN = 10;
    RCC_OscInitStruct.PLL.PLLP = RCC_PLLP_DIV7;
    RCC_OscInitStruct.PLL.PLLQ = RCC_PLLQ_DIV2;
    RCC_OscInitStruct.PLL.PLLR = RCC_PLLR_DIV2;
    if (HAL_RCC_OscConfig(&RCC_OscInitStruct) != HAL_OK)
    {
        Error_Handler();
    }

    /** Initializes the CPU, AHB and APB buses clocks
     */
    RCC_ClkInitStruct.ClockType = RCC_CLOCKTYPE_HCLK | RCC_CLOCKTYPE_SYSCLK | RCC_CLOCKTYPE_PCLK1 | RCC_CLOCKTYPE_PCLK2;
    RCC_ClkInitStruct.SYSCLKSource = RCC_SYSCLKSOURCE_PLLCLK;
    RCC_ClkInitStruct.AHBCLKDivider = RCC_SYSCLK_DIV1;
    RCC_ClkInitStruct.APB1CLKDivider = RCC_HCLK_DIV1;
    RCC_ClkInitStruct.APB2CLKDivider = RCC_HCLK_DIV1;

    if (HAL_RCC_ClockConfig(&RCC_ClkInitStruct, FLASH_LATENCY_4) != HAL_OK)
    {
        Error_Handler();
    }
}

static void MX_I2C1_Init(void)
{

    hi2c1.Instance = I2C1;
    hi2c1.Init.Timing = 0x00702991; // new timing works, old timing does not // 0x10D19CE4;
    hi2c1.Init.OwnAddress1 = 0;
    hi2c1.Init.AddressingMode = I2C_ADDRESSINGMODE_7BIT;
    hi2c1.Init.DualAddressMode = I2C_DUALADDRESS_DISABLE;
    hi2c1.Init.OwnAddress2 = 0;
    hi2c1.Init.OwnAddress2Masks = I2C_OA2_NOMASK;
    hi2c1.Init.GeneralCallMode = I2C_GENERALCALL_DISABLE;
    hi2c1.Init.NoStretchMode = I2C_NOSTRETCH_DISABLE;
    if (HAL_I2C_Init(&hi2c1) != HAL_OK)
    {
        Error_Handler();
    }

    /** Configure Analogue filter
     */
    if (HAL_I2CEx_ConfigAnalogFilter(&hi2c1, I2C_ANALOGFILTER_ENABLE) != HAL_OK)
    {
        Error_Handler();
    }

    /** Configure Digital filter
     */
    if (HAL_I2CEx_ConfigDigitalFilter(&hi2c1, 0) != HAL_OK)
    {
        Error_Handler();
    }
}

static void MX_USART2_UART_Init(void)
{

    huart2.Instance = USART2;
    huart2.Init.BaudRate = 115200;
    huart2.Init.WordLength = UART_WORDLENGTH_8B;
    huart2.Init.StopBits = UART_STOPBITS_1;
    huart2.Init.Parity = UART_PARITY_NONE;
    huart2.Init.Mode = UART_MODE_TX_RX;
    huart2.Init.HwFlowCtl = UART_HWCONTROL_NONE;
    huart2.Init.OverSampling = UART_OVERSAMPLING_16;
    huart2.Init.OneBitSampling = UART_ONE_BIT_SAMPLE_DISABLE;
    huart2.AdvancedInit.AdvFeatureInit = UART_ADVFEATURE_NO_INIT;
    if (HAL_UART_Init(&huart2) != HAL_OK)
    {
        Error_Handler();
    }
}

static void MX_GPIO_Init(void)
{
    GPIO_InitTypeDef GPIO_InitStruct = {0};

    /* GPIO Ports Clock Enable */
    __HAL_RCC_GPIOC_CLK_ENABLE();
    __HAL_RCC_GPIOH_CLK_ENABLE();
    __HAL_RCC_GPIOA_CLK_ENABLE();
    __HAL_RCC_GPIOB_CLK_ENABLE();

    /*Configure GPIO pin Output Level */
    HAL_GPIO_WritePin(LD2_GPIO_Port, LD2_Pin, GPIO_PIN_RESET);

    /*Configure GPIO pin : B1_Pin */
    GPIO_InitStruct.Pin = B1_Pin;
    GPIO_InitStruct.Mode = GPIO_MODE_IT_FALLING;
    GPIO_InitStruct.Pull = GPIO_NOPULL;
    HAL_GPIO_Init(B1_GPIO_Port, &GPIO_InitStruct);

    /*Configure GPIO pin : LD2_Pin */
    GPIO_InitStruct.Pin = LD2_Pin;
    GPIO_InitStruct.Mode = GPIO_MODE_OUTPUT_PP;
    GPIO_InitStruct.Pull = GPIO_NOPULL;
    GPIO_InitStruct.Speed = GPIO_SPEED_FREQ_LOW;
    HAL_GPIO_Init(LD2_GPIO_Port, &GPIO_InitStruct);

}

void Error_Handler(void)
{
    /* USER CODE BEGIN Error_Handler_Debug */
    /* User can add his own implementation to report the HAL error return state */
    __disable_irq();
    while (1)
    {
        HAL_UART_Transmit(&huart2, CrashMsg, sizeof(CrashMsg), 10000);
    }
    /* USER CODE END Error_Handler_Debug */
}
